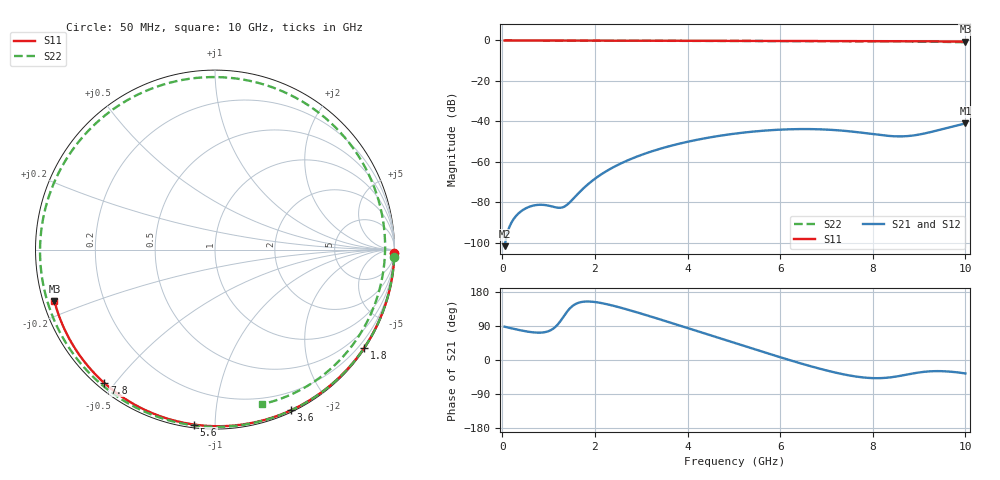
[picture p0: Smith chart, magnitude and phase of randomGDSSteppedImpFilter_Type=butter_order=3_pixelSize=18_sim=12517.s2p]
! freq	dB(S11)	phase(S11)	dB(S12)	phase(S12)
!  dB(S21)	phase(S21)	dB(S22)	phase(S22)
!S-par simulation data
#  GHz  S  DB  R 50
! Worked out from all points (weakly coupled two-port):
!   200 points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, 50 MHz to 10 GHz, reference 50 ohm
!   highest |S21| = -40.98 dB at 10 GHz (marker M1); lowest = -101.6 dB at 50 MHz (marker M2)
!   lowest |S11| = -0.5 dB at 10 GHz (marker M3), VSWR 32.16, Z = 1.59 - j7.85 ohm
!   |S11| at or under -10 dB: nowhere
!   |S22| runs from -0.9 to 0.0 dB; largest |S21 - S12| = 0
!   S11 on the Smith chart (normalised r, x): 50 MHz: open; 1.8 GHz: 0.03, -3.35; 3.6 GHz: 0.02, -1.58; 5.6 GHz: 0.02, -0.89; 7.8 GHz: 0.02, -0.47; 10 GHz: 0.03, -0.16
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0.05  -0.00 -1.0  -101.57 87.9  -101.57 87.9  -0.01 -2.3
0.7  -0.01 -13.1  -81.39 72.6  -81.39 72.6  -0.04 -31.4
1.1  -0.03 -20.5  -82.11 82.7  -82.11 82.7  -0.06 -49.0
1.45  -0.03 -26.9  -80.10 135.0  -80.10 135.0  -0.08 -64.0
1.75  -0.04 -32.4  -73.06 153.8  -73.06 153.8  -0.09 -76.6
1.8  -0.04 -33.3  -72.01 154.3  -72.01 154.3  -0.10 -78.6
2.15  -0.05 -39.5  -65.92 150.0  -65.92 150.0  -0.11 -93.0
2.55  -0.06 -46.6  -60.84 138.3  -60.84 138.3  -0.13 -108.9
3.4  -0.08 -61.3  -53.54 107.4  -53.54 107.4  -0.17 -141.9
3.6  -0.09 -64.7  -52.26 99.8  -52.26 99.8  -0.18 -149.6
4.35  -0.11 -77.1  -48.41 70.8  -48.41 70.8  -0.22 -178.4
5.05  -0.14 -88.3  -45.93 43.7  -45.93 43.7  -0.26 153.9
5.6  -0.16 -96.9  -44.63 22.4  -44.63 22.4  -0.29 131.2
6.15  -0.19 -105.3  -43.90 1.7  -43.90 1.7  -0.32 107.4
6.7  -0.22 -113.5  -43.78 -17.8  -43.78 -17.8  -0.35 82.7
7.25  -0.26 -121.6  -44.36 -34.8  -44.36 -34.8  -0.38 57.1
7.8  -0.30 -129.7  -45.65 -46.1  -45.65 -46.1  -0.41 31.1
8.35  -0.35 -137.7  -47.14 -46.2  -47.14 -46.2  -0.45 5.1
8.7  -0.39 -142.8  -47.30 -39.4  -47.30 -39.4  -0.50 -11.3
9.1  -0.43 -148.7  -46.01 -31.3  -46.01 -31.3  -0.58 -30.0
9.55  -0.48 -155.4  -43.51 -29.8  -43.51 -29.8  -0.71 -51.3
10  -0.54 -162.1  -40.98 -35.5  -40.98 -35.5  -0.91 -73.3
